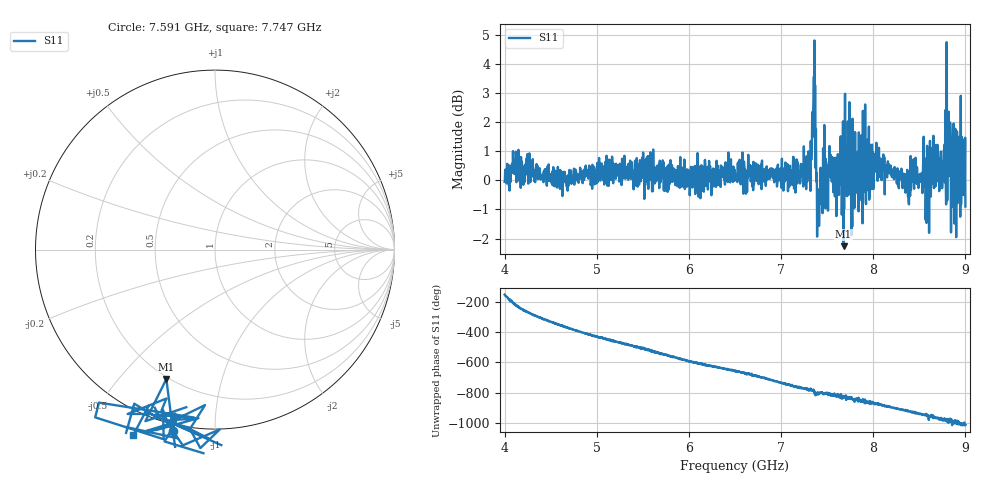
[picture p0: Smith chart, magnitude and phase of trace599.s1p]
! Created with skrf 1.8.0 (http://scikit-rf.org).
# Hz S RI R 50.0
!freq ReS11 ImS11
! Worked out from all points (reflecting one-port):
!   1601 points, 4 GHz to 9 GHz, reference 50 ohm
!   lowest |S11| = -2.3 dB at 7.678 GHz (marker M1), VSWR 7.72, Z = 9.5 - j33.8 ohm
!   phase of S11 starts at -153 deg and turns -859 deg over the sweep
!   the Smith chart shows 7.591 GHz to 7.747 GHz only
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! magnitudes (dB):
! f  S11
! 4 GHz  -0.1
! 4.1 GHz  0.5
! 4.625 GHz  -0.4
! 5.25 GHz  0.6
! 5.875 GHz  -0.2
! 6.5 GHz  0.2
! 7.125 GHz  0.3
! 7.294 GHz  0.5
! 7.353 GHz  2.9
! 7.362 GHz  4.8
! 7.397 GHz  -1.3
! 7.412 GHz  -1.6
! 7.481 GHz  -1.0
! 7.588 GHz  0.8
! 7.631 GHz  0.5
! 7.678 GHz  -2.3
! 7.75 GHz  0.1
! 7.775 GHz  2.1
! 7.891 GHz  -0.4
! 8.375 GHz  -0.2
! 8.441 GHz  -0.2
! 8.584 GHz  1.2
! 8.656 GHz  1.2
! 8.738 GHz  0.2
! 8.816 GHz  0.1
! 8.869 GHz  -0.2
! 8.972 GHz  0.5
! 9 GHz  -0.9
